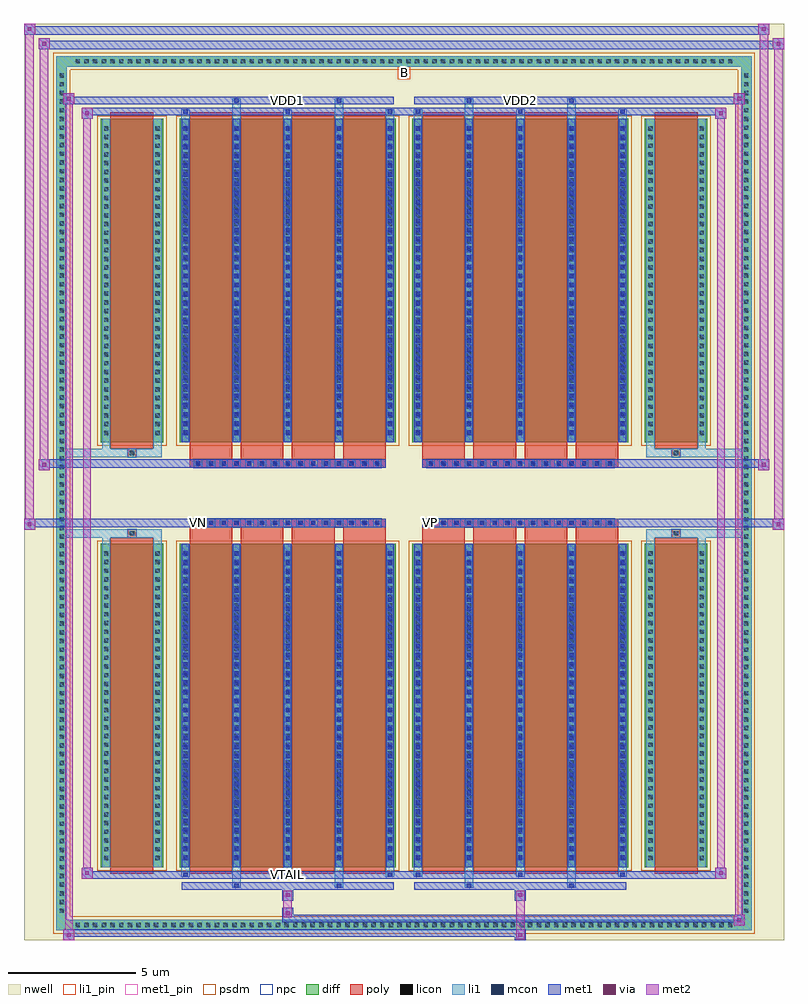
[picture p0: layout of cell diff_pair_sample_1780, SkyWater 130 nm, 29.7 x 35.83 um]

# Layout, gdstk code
import gdstk
lib = gdstk.Library(unit=1e-6, precision=5e-09)
def R(c, l, rs):  # rectangles x0, y0, x1, y1
    for r in rs: c.add(gdstk.rectangle(r[:2], r[2:], *l))
def A(c, l, x, y, w, h, nx, ny, dx, dy):  # array of equal rectangles
    R(c, l, [(x+i*dx, y+j*dy, x+i*dx+w, y+j*dy+h) for i in range(nx) for j in range(ny)])
def P(c, l, *ps):  # polygons
    for p in ps: c.add(gdstk.Polygon(p, *l))
nwell = (64, 20)
diff = (65, 20)
poly = (66, 20)
licon = (66, 44)
li1_pin = (67, 16)
li1 = (67, 20)
mcon = (67, 44)
met1_pin = (68, 16)
met1 = (68, 20)
via = (68, 44)
met2 = (69, 20)
psdm = (94, 20)
npc = (95, 20)

diff_pair_sample_1780 = lib.new_cell('diff_pair_sample_1780')
R(diff_pair_sample_1780, nwell, [(-14.85,-17.48,14.85,18.35), (-12.17,-15.67,-0.01,-0.795), (0.01,-15.67,12.17,-0.795), (-12.17,0.795,-0.01,15.67), (0.01,0.795,12.17,15.67)])
A(diff_pair_sample_1780, diff, -12.955, -17.08, 0.41, 0.41, 76, 2, 0.34, 33.75)
A(diff_pair_sample_1780, diff, -13.58, -16.525, 0.41, 0.41, 1, 97, 0, 0.34)
A(diff_pair_sample_1780, diff, 13.17, -16.525, 0.41, 0.41, 1, 97, 0, 0.34)
R(diff_pair_sample_1780, diff, [(-12.955,-17.08,12.955,-16.67), (-13.58,-16.525,-13.17,16.525), (13.17,-16.525,13.58,16.525), (-11.86,-14.625,-9.41,-1.985), (-8.77,-14.625,-0.32,-1.985), (0.32,-14.625,8.77,-1.985), (9.41,-14.625,11.86,-1.985), (-11.86,1.985,-9.41,14.625), (-8.77,1.985,-0.32,14.625), (0.32,1.985,8.77,14.625), (9.41,1.985,11.86,14.625), (-12.955,16.67,12.955,17.08)])
P(diff_pair_sample_1780, diff, [(13.58,17.08),(-13.58,17.08),(-13.58,-16.67),(-13.17,-16.67),(-13.17,16.67),(13.17,16.67),(13.17,-16.67),(-13.17,-16.67),(-13.58,-16.67),(-13.58,-17.08),(13.58,-17.08)])
A(diff_pair_sample_1780, poly, -8.38, -14.875, 1.67, 13.14, 4, 2, 2, 16.61)
A(diff_pair_sample_1780, poly, 0.71, -14.875, 1.67, 13.14, 4, 2, 2, 16.61)
A(diff_pair_sample_1780, poly, -8.38, -1.735, 1.67, 0.41, 4, 2, 2, 3.06)
A(diff_pair_sample_1780, poly, 0.71, -1.735, 1.67, 0.41, 4, 2, 2, 3.06)
A(diff_pair_sample_1780, poly, -8.21, -1.325, 0.33, 0.33, 15, 2, 0.5, 2.32)
A(diff_pair_sample_1780, poly, 0.88, -1.325, 0.33, 0.33, 15, 2, 0.5, 2.32)
R(diff_pair_sample_1780, poly, [(-11.47,-14.875,-9.8,-1.735), (9.8,-14.875,11.47,-1.735), (-10.8,-1.735,-10.47,-1.405), (-10.8,-1.735,-10.47,-1.405), (10.47,-1.735,10.8,-1.405), (10.47,-1.735,10.8,-1.405), (-8.38,-1.325,-0.71,-0.995), (0.71,-1.325,8.38,-0.995), (-8.38,0.995,-0.71,1.325), (0.71,0.995,8.38,1.325), (-10.8,1.405,-10.47,1.735), (-10.8,1.405,-10.47,1.735), (10.47,1.405,10.8,1.735), (10.47,1.405,10.8,1.735), (-11.47,1.735,-9.8,14.875), (9.8,1.735,11.47,14.875)])
A(diff_pair_sample_1780, licon, -12.835, -16.96, 0.17, 0.17, 76, 2, 0.34, 33.75)
A(diff_pair_sample_1780, licon, -13.46, -16.405, 0.17, 0.17, 1, 97, 0, 0.34)
A(diff_pair_sample_1780, licon, 13.29, -16.405, 0.17, 0.17, 1, 97, 0, 0.34)
A(diff_pair_sample_1780, licon, -11.72, -14.34, 0.17, 0.17, 1, 36, 0, 0.34)
A(diff_pair_sample_1780, licon, -9.72, -14.34, 0.17, 0.17, 1, 36, 0, 0.34)
A(diff_pair_sample_1780, licon, -8.63, -14.34, 0.17, 0.17, 5, 36, 2, 0.34)
A(diff_pair_sample_1780, licon, 0.46, -14.34, 0.17, 0.17, 5, 36, 2, 0.34)
A(diff_pair_sample_1780, licon, 9.55, -14.34, 0.17, 0.17, 1, 36, 0, 0.34)
A(diff_pair_sample_1780, licon, 11.55, -14.34, 0.17, 0.17, 1, 36, 0, 0.34)
A(diff_pair_sample_1780, licon, -8.13, -1.245, 0.17, 0.17, 15, 2, 0.5, 2.32)
A(diff_pair_sample_1780, licon, 0.96, -1.245, 0.17, 0.17, 15, 2, 0.5, 2.32)
A(diff_pair_sample_1780, licon, -11.72, 2.27, 0.17, 0.17, 1, 36, 0, 0.34)
A(diff_pair_sample_1780, licon, -9.72, 2.27, 0.17, 0.17, 1, 36, 0, 0.34)
A(diff_pair_sample_1780, licon, -8.63, 2.27, 0.17, 0.17, 5, 36, 2, 0.34)
A(diff_pair_sample_1780, licon, 0.46, 2.27, 0.17, 0.17, 5, 36, 2, 0.34)
A(diff_pair_sample_1780, licon, 9.55, 2.27, 0.17, 0.17, 1, 36, 0, 0.34)
A(diff_pair_sample_1780, licon, 11.55, 2.27, 0.17, 0.17, 1, 36, 0, 0.34)
R(diff_pair_sample_1780, licon, [(-10.72,-1.655,-10.55,-1.485), (10.55,-1.655,10.72,-1.485), (-10.72,1.485,-10.55,1.655), (10.55,1.485,10.72,1.655)])
R(diff_pair_sample_1780, li1_pin, [(-0.25,16.17,0.25,16.67)])
A(diff_pair_sample_1780, li1, -12.915, -17.04, 0.33, 0.33, 76, 2, 0.34, 33.75)
A(diff_pair_sample_1780, li1, -13.54, -16.485, 0.33, 0.33, 1, 97, 0, 0.34)
A(diff_pair_sample_1780, li1, 13.21, -16.485, 0.33, 0.33, 1, 97, 0, 0.34)
A(diff_pair_sample_1780, li1, -8.71, -15, 0.33, 0.375, 3, 2, 4, 29.625)
A(diff_pair_sample_1780, li1, -8.63, -15, 0.17, 0.17, 3, 2, 4, 29.83)
A(diff_pair_sample_1780, li1, 0.38, -15, 0.33, 0.375, 3, 2, 4, 29.625)
A(diff_pair_sample_1780, li1, 0.46, -15, 0.17, 0.17, 3, 2, 4, 29.83)
A(diff_pair_sample_1780, li1, -8.71, -14.625, 0.33, 12.64, 5, 2, 2, 16.61)
A(diff_pair_sample_1780, li1, 0.38, -14.625, 0.33, 12.64, 5, 2, 2, 16.61)
A(diff_pair_sample_1780, li1, -11.8, -14.42, 0.33, 0.33, 1, 36, 0, 0.34)
A(diff_pair_sample_1780, li1, -9.8, -14.42, 0.33, 0.33, 1, 36, 0, 0.34)
A(diff_pair_sample_1780, li1, -8.71, -14.42, 0.33, 0.33, 5, 36, 2, 0.34)
A(diff_pair_sample_1780, li1, 0.38, -14.42, 0.33, 0.33, 5, 36, 2, 0.34)
A(diff_pair_sample_1780, li1, 9.47, -14.42, 0.33, 0.33, 1, 36, 0, 0.34)
A(diff_pair_sample_1780, li1, 11.47, -14.42, 0.33, 0.33, 1, 36, 0, 0.34)
A(diff_pair_sample_1780, li1, -8.63, -14.33, 0.17, 0.17, 5, 34, 2, 0.36)
A(diff_pair_sample_1780, li1, -8.63, -14.33, 0.17, 12.05, 5, 2, 2, 16.61)
A(diff_pair_sample_1780, li1, 0.46, -14.33, 0.17, 0.17, 5, 34, 2, 0.36)
A(diff_pair_sample_1780, li1, 0.46, -14.33, 0.17, 12.05, 5, 2, 2, 16.61)
A(diff_pair_sample_1780, li1, -8.21, -1.325, 0.33, 0.33, 15, 2, 0.5, 2.32)
A(diff_pair_sample_1780, li1, 0.88, -1.325, 0.33, 0.33, 15, 2, 0.5, 2.32)
A(diff_pair_sample_1780, li1, -11.8, 2.19, 0.33, 0.33, 1, 36, 0, 0.34)
A(diff_pair_sample_1780, li1, -9.8, 2.19, 0.33, 0.33, 1, 36, 0, 0.34)
A(diff_pair_sample_1780, li1, -8.71, 2.19, 0.33, 0.33, 5, 36, 2, 0.34)
A(diff_pair_sample_1780, li1, 0.38, 2.19, 0.33, 0.33, 5, 36, 2, 0.34)
A(diff_pair_sample_1780, li1, 9.47, 2.19, 0.33, 0.33, 1, 36, 0, 0.34)
A(diff_pair_sample_1780, li1, 11.47, 2.19, 0.33, 0.33, 1, 36, 0, 0.34)
A(diff_pair_sample_1780, li1, -8.63, 2.28, 0.17, 0.17, 5, 34, 2, 0.36)
A(diff_pair_sample_1780, li1, 0.46, 2.28, 0.17, 0.17, 5, 34, 2, 0.36)
R(diff_pair_sample_1780, li1, [(-13.58,-17.08,-13.17,-16.67), (-13.58,-17.08,-13.17,-16.67), (-13.17,-17.08,13.17,-16.67), (13.17,-17.08,13.58,-16.67), (13.17,-17.08,13.58,-16.67), (-13.58,-16.67,-13.17,16.67), (13.17,-16.67,13.58,16.67), (-6.71,-15.43,-6.38,-14.625), (-6.63,-15.43,-6.46,-15.26), (-2.71,-15.43,-2.38,-14.625), (-2.63,-15.43,-2.46,-15.26), (2.38,-15.43,2.71,-14.625), (2.46,-15.43,2.63,-15.26), (6.38,-15.43,6.71,-14.625), (6.46,-15.43,6.63,-15.26), (-11.8,-14.625,-11.47,-1.985), (-9.8,-14.625,-9.47,-1.985), (9.47,-14.625,9.8,-1.985), (11.47,-14.625,11.8,-1.985), (-11.8,-1.985,-11.47,-1.405), (-9.8,-1.985,-9.47,-1.405), (9.47,-1.985,9.8,-1.405), (11.47,-1.985,11.8,-1.405), (-13.58,-1.735,-10.8,-1.405), (-11.8,-1.735,-10.8,-1.405), (-10.8,-1.735,-10.47,-1.405), (-10.47,-1.735,-9.47,-1.405), (9.47,-1.735,10.47,-1.405), (10.47,-1.735,10.8,-1.405), (10.47,-1.735,13.58,-1.405), (10.8,-1.735,11.8,-1.405), (-13.58,1.405,-10.8,1.735), (-11.8,1.405,-10.8,1.735), (-11.8,1.405,-11.47,1.985), (-10.8,1.405,-10.47,1.735), (-10.47,1.405,-9.47,1.735), (-9.8,1.405,-9.47,1.985), (9.47,1.405,10.47,1.735), (9.47,1.405,9.8,1.985), (10.47,1.405,10.8,1.735), (10.47,1.405,13.58,1.735), (10.8,1.405,11.8,1.735), (11.47,1.405,11.8,1.985), (-11.8,1.985,-11.47,14.625), (-9.8,1.985,-9.47,14.625), (9.47,1.985,9.8,14.625), (11.47,1.985,11.8,14.625), (-6.71,14.625,-6.38,15.43), (-2.71,14.625,-2.38,15.43), (2.38,14.625,2.71,15.43), (6.38,14.625,6.71,15.43), (-6.63,15.26,-6.46,15.43), (-2.63,15.26,-2.46,15.43), (2.46,15.26,2.63,15.43), (6.46,15.26,6.63,15.43), (-13.58,16.67,-13.17,17.08), (-13.58,16.67,-13.17,17.08), (-13.17,16.67,13.17,17.08), (13.17,16.67,13.58,17.08), (13.17,16.67,13.58,17.08)])
A(diff_pair_sample_1780, mcon, -8.63, -15, 0.17, 0.17, 3, 2, 4, 29.83)
A(diff_pair_sample_1780, mcon, 0.46, -15, 0.17, 0.17, 3, 2, 4, 29.83)
A(diff_pair_sample_1780, mcon, -8.63, -14.33, 0.17, 0.17, 5, 34, 2, 0.36)
A(diff_pair_sample_1780, mcon, 0.46, -14.33, 0.17, 0.17, 5, 34, 2, 0.36)
A(diff_pair_sample_1780, mcon, -8.13, -1.245, 0.17, 0.17, 15, 2, 0.5, 2.32)
A(diff_pair_sample_1780, mcon, 0.96, -1.245, 0.17, 0.17, 15, 2, 0.5, 2.32)
A(diff_pair_sample_1780, mcon, -8.63, 2.28, 0.17, 0.17, 5, 34, 2, 0.36)
A(diff_pair_sample_1780, mcon, 0.46, 2.28, 0.17, 0.17, 5, 34, 2, 0.36)
R(diff_pair_sample_1780, mcon, [(-6.63,-15.43,-6.46,-15.26), (-2.63,-15.43,-2.46,-15.26), (2.46,-15.43,2.63,-15.26), (6.46,-15.43,6.63,-15.26), (-6.63,15.26,-6.46,15.43), (-2.63,15.26,-2.46,15.43), (2.46,15.26,2.63,15.43), (6.46,15.26,6.63,15.43)])
R(diff_pair_sample_1780, met1_pin, [(-4.68,-15.04,-4.41,-14.77), (-8.18,-1.285,-7.91,-1.015), (0.91,-1.285,1.18,-1.015), (-4.68,15.22,-4.41,15.49), (4.41,15.22,4.68,15.49)])
A(diff_pair_sample_1780, met1, -8.69, -15.06, 0.29, 0.29, 3, 2, 4, 29.83)
A(diff_pair_sample_1780, met1, 0.4, -15.06, 0.29, 0.29, 3, 2, 4, 29.83)
A(diff_pair_sample_1780, met1, -8.69, -14.625, 0.29, 12.64, 5, 2, 2, 16.61)
A(diff_pair_sample_1780, met1, 0.4, -14.625, 0.29, 12.64, 5, 2, 2, 16.61)
A(diff_pair_sample_1780, met1, -8.69, -14.39, 0.29, 0.29, 5, 34, 2, 0.36)
A(diff_pair_sample_1780, met1, 0.4, -14.39, 0.29, 0.29, 5, 34, 2, 0.36)
A(diff_pair_sample_1780, met1, -8.19, -1.305, 0.29, 0.29, 15, 2, 0.5, 2.32)
A(diff_pair_sample_1780, met1, 0.9, -1.305, 0.29, 0.29, 15, 2, 0.5, 2.32)
A(diff_pair_sample_1780, met1, -8.69, 2.22, 0.29, 0.29, 5, 34, 2, 0.36)
A(diff_pair_sample_1780, met1, 0.4, 2.22, 0.29, 0.29, 5, 34, 2, 0.36)
R(diff_pair_sample_1780, met1, [(-13.31,-17.48,-12.88,-17.05), (4.33,-17.48,4.76,-17.05), (-13.31,-17.34,4.76,-17.05), (12.88,-16.91,13.31,-16.48), (-4.76,-16.77,13.31,-16.48), (-4.76,-16.63,-4.33,-16.2), (-4.76,-15.92,-4.33,-15.49), (4.33,-15.92,4.76,-15.49), (-8.69,-15.49,-0.4,-15.2), (-6.69,-15.49,-6.4,-15.2), (-2.69,-15.49,-2.4,-15.2), (0.4,-15.49,8.69,-15.2), (2.4,-15.49,2.69,-15.2), (6.4,-15.49,6.69,-15.2), (-12.6,-15.06,-12.17,-14.63), (-12.6,-15.06,-8.69,-14.77), (-8.69,-15.06,-0.4,-14.77), (-0.4,-15.06,0.4,-14.77), (0.4,-15.06,8.69,-14.77), (8.69,-15.06,12.6,-14.77), (12.17,-15.06,12.6,-14.63), (-14.85,-1.425,-14.42,-0.995), (14.42,-1.425,14.85,-0.995), (-14.85,-1.325,-0.71,-0.995), (-8.38,-1.325,-0.71,-0.995), (0.71,-1.325,8.38,-0.995), (0.71,-1.325,14.85,-0.995), (-14.28,0.895,-13.85,1.325), (13.85,0.895,14.28,1.325), (-14.28,0.995,-8.38,1.325), (-8.38,0.995,-0.71,1.325), (0.71,0.995,8.38,1.325), (8.38,0.995,14.28,1.325), (-12.6,14.63,-12.17,15.06), (12.17,14.63,12.6,15.06), (-12.6,14.77,-8.69,15.06), (-8.69,14.77,-0.4,15.06), (-0.4,14.77,0.4,15.06), (0.4,14.77,8.69,15.06), (8.69,14.77,12.6,15.06), (-13.31,15.2,-12.88,15.63), (-13.31,15.2,-8.69,15.49), (-8.69,15.2,-0.4,15.49), (-6.69,15.2,-6.4,15.49), (-2.69,15.2,-2.4,15.49), (0.4,15.2,8.69,15.49), (2.4,15.2,2.69,15.49), (6.4,15.2,6.69,15.49), (8.69,15.2,13.31,15.49), (12.88,15.2,13.31,15.63), (-14.28,17.35,-13.85,17.78), (-14.28,17.35,-12.17,17.68), (-12.17,17.35,12.17,17.68), (12.17,17.35,14.85,17.68), (14.42,17.35,14.85,17.78), (-14.85,17.92,-14.42,18.35), (-14.85,17.92,-12.17,18.25), (-12.17,17.92,12.17,18.25), (12.17,17.92,14.28,18.25), (13.85,17.92,14.28,18.35)])
R(diff_pair_sample_1780, via, [(-13.17,-17.34,-13.02,-17.19), (4.47,-17.34,4.62,-17.19), (13.02,-16.77,13.17,-16.62), (-4.62,-16.49,-4.47,-16.34), (-4.62,-15.78,-4.47,-15.63), (4.47,-15.78,4.62,-15.63), (-12.46,-14.92,-12.31,-14.77), (12.31,-14.92,12.46,-14.77), (-14.71,-1.285,-14.56,-1.135), (14.56,-1.285,14.71,-1.135), (-14.14,1.035,-13.99,1.185), (13.99,1.035,14.14,1.185), (-12.46,14.77,-12.31,14.92), (12.31,14.77,12.46,14.92), (-13.17,15.34,-13.02,15.49), (13.02,15.34,13.17,15.49), (-14.14,17.49,-13.99,17.64), (14.56,17.49,14.71,17.64), (-14.71,18.06,-14.56,18.21), (13.99,18.06,14.14,18.21)])
R(diff_pair_sample_1780, met2, [(-13.31,-17.48,-12.88,-17.05), (-13.24,-17.48,-12.95,15.63), (-12.95,-17.48,-12.88,-17.05), (-13.26,-17.43,-12.93,-17.1), (4.38,-17.43,4.71,-17.1), (4.38,-17.1,4.71,-15.87), (12.88,-16.91,13.31,-16.48), (12.95,-16.91,13.24,15.63), (13.24,-16.91,13.31,-16.48), (12.93,-16.86,13.26,-16.53), (-4.71,-16.58,-4.38,-16.25), (-4.71,-16.25,-4.38,-15.87), (-4.71,-15.87,-4.38,-15.54), (4.38,-15.87,4.71,-15.54), (-12.6,-15.06,-12.17,-14.63), (-12.53,-15.06,-12.24,15.06), (-12.24,-15.06,-12.17,-14.63), (12.17,-15.06,12.6,-14.63), (12.24,-15.06,12.53,15.06), (12.53,-15.06,12.6,-14.63), (-12.55,-15.01,-12.22,-14.68), (12.22,-15.01,12.55,-14.68), (-14.85,-1.425,-14.42,-0.995), (-14.8,-1.425,-14.47,18.35), (-14.47,-1.425,-14.42,-0.995), (14.42,-1.425,14.85,-0.995), (14.47,-1.425,14.8,17.78), (14.8,-1.425,14.85,-0.995), (-14.8,-1.375,-14.47,-1.045), (14.47,-1.375,14.8,-1.045), (-14.28,0.895,-13.85,1.325), (-14.23,0.895,-13.9,17.78), (-13.9,0.895,-13.85,1.325), (13.85,0.895,14.28,1.325), (13.9,0.895,14.23,18.35), (14.23,0.895,14.28,1.325), (-14.23,0.945,-13.9,1.275), (13.9,0.945,14.23,1.275), (-12.6,14.63,-12.17,15.06), (-12.24,14.63,-12.17,15.06), (12.17,14.63,12.6,15.06), (12.53,14.63,12.6,15.06), (-12.55,14.68,-12.22,15.01), (12.22,14.68,12.55,15.01), (-13.31,15.2,-12.88,15.63), (-12.95,15.2,-12.88,15.63), (12.88,15.2,13.31,15.63), (13.24,15.2,13.31,15.63), (-13.26,15.25,-12.93,15.58), (12.93,15.25,13.26,15.58), (-14.28,17.35,-13.85,17.78), (-13.9,17.35,-13.85,17.78), (14.42,17.35,14.85,17.78), (14.8,17.35,14.85,17.78), (-14.23,17.4,-13.9,17.73), (14.47,17.4,14.8,17.73), (-14.85,17.92,-14.42,18.35), (-14.47,17.92,-14.42,18.35), (13.85,17.92,14.28,18.35), (14.23,17.92,14.28,18.35), (-14.8,17.97,-14.47,18.3), (13.9,17.97,14.23,18.3)])
R(diff_pair_sample_1780, psdm, [(-11.99,-14.755,-9.28,-1.855), (-8.9,-14.755,-0.19,-1.855), (0.19,-14.755,8.9,-1.855), (9.28,-14.755,11.99,-1.855), (-11.99,1.855,-9.28,14.755), (-8.9,1.855,-0.19,14.755), (0.19,1.855,8.9,14.755), (9.28,1.855,11.99,14.755)])
P(diff_pair_sample_1780, psdm, [(13.71,17.21),(-13.71,17.21),(-13.71,-16.54),(-13.04,-16.54),(-13.04,16.54),(13.04,16.54),(13.04,-16.54),(-13.04,-16.54),(-13.71,-16.54),(-13.71,-17.21),(13.71,-17.21)])
A(diff_pair_sample_1780, npc, -8.23, -1.345, 0.37, 0.37, 15, 2, 0.5, 2.32)
A(diff_pair_sample_1780, npc, 0.86, -1.345, 0.37, 0.37, 15, 2, 0.5, 2.32)
R(diff_pair_sample_1780, npc, [(-10.82,-1.755,-10.45,-1.385), (10.45,-1.755,10.82,-1.385), (-8.23,-1.345,-7.36,-0.975), (-8.23,-1.345,-7.36,-0.975), (-7.73,-1.345,-6.86,-0.975), (-7.73,-1.345,-6.86,-0.975), (-7.23,-1.345,-6.36,-0.975), (-7.23,-1.345,-6.36,-0.975), (-6.73,-1.345,-5.86,-0.975), (-6.73,-1.345,-5.86,-0.975), (-6.23,-1.345,-5.36,-0.975), (-6.23,-1.345,-5.36,-0.975), (-5.73,-1.345,-4.86,-0.975), (-5.73,-1.345,-4.86,-0.975), (-5.23,-1.345,-4.36,-0.975), (-5.23,-1.345,-4.36,-0.975), (-4.73,-1.345,-3.86,-0.975), (-4.73,-1.345,-3.86,-0.975), (-4.23,-1.345,-3.36,-0.975), (-4.23,-1.345,-3.36,-0.975), (-3.73,-1.345,-2.86,-0.975), (-3.73,-1.345,-2.86,-0.975), (-3.23,-1.345,-2.36,-0.975), (-3.23,-1.345,-2.36,-0.975), (-2.73,-1.345,-1.86,-0.975), (-2.73,-1.345,-1.86,-0.975), (-2.23,-1.345,-1.36,-0.975), (-2.23,-1.345,-1.36,-0.975), (-1.73,-1.345,-0.86,-0.975), (-1.73,-1.345,-0.86,-0.975), (0.86,-1.345,1.73,-0.975), (0.86,-1.345,1.73,-0.975), (1.36,-1.345,2.23,-0.975), (1.36,-1.345,2.23,-0.975), (1.86,-1.345,2.73,-0.975), (1.86,-1.345,2.73,-0.975), (2.36,-1.345,3.23,-0.975), (2.36,-1.345,3.23,-0.975), (2.86,-1.345,3.73,-0.975), (2.86,-1.345,3.73,-0.975), (3.36,-1.345,4.23,-0.975), (3.36,-1.345,4.23,-0.975), (3.86,-1.345,4.73,-0.975), (3.86,-1.345,4.73,-0.975), (4.36,-1.345,5.23,-0.975), (4.36,-1.345,5.23,-0.975), (4.86,-1.345,5.73,-0.975), (4.86,-1.345,5.73,-0.975), (5.36,-1.345,6.23,-0.975), (5.36,-1.345,6.23,-0.975), (5.86,-1.345,6.73,-0.975), (5.86,-1.345,6.73,-0.975), (6.36,-1.345,7.23,-0.975), (6.36,-1.345,7.23,-0.975), (6.86,-1.345,7.73,-0.975), (6.86,-1.345,7.73,-0.975), (7.36,-1.345,8.23,-0.975), (7.36,-1.345,8.23,-0.975), (-8.23,0.975,-7.36,1.345), (-8.23,0.975,-7.36,1.345), (-7.73,0.975,-6.86,1.345), (-7.73,0.975,-6.86,1.345), (-7.23,0.975,-6.36,1.345), (-7.23,0.975,-6.36,1.345), (-6.73,0.975,-5.86,1.345), (-6.73,0.975,-5.86,1.345), (-6.23,0.975,-5.36,1.345), (-6.23,0.975,-5.36,1.345), (-5.73,0.975,-4.86,1.345), (-5.73,0.975,-4.86,1.345), (-5.23,0.975,-4.36,1.345), (-5.23,0.975,-4.36,1.345), (-4.73,0.975,-3.86,1.345), (-4.73,0.975,-3.86,1.345), (-4.23,0.975,-3.36,1.345), (-4.23,0.975,-3.36,1.345), (-3.73,0.975,-2.86,1.345), (-3.73,0.975,-2.86,1.345), (-3.23,0.975,-2.36,1.345), (-3.23,0.975,-2.36,1.345), (-2.73,0.975,-1.86,1.345), (-2.73,0.975,-1.86,1.345), (-2.23,0.975,-1.36,1.345), (-2.23,0.975,-1.36,1.345), (-1.73,0.975,-0.86,1.345), (-1.73,0.975,-0.86,1.345), (0.86,0.975,1.73,1.345), (0.86,0.975,1.73,1.345), (1.36,0.975,2.23,1.345), (1.36,0.975,2.23,1.345), (1.86,0.975,2.73,1.345), (1.86,0.975,2.73,1.345), (2.36,0.975,3.23,1.345), (2.36,0.975,3.23,1.345), (2.86,0.975,3.73,1.345), (2.86,0.975,3.73,1.345), (3.36,0.975,4.23,1.345), (3.36,0.975,4.23,1.345), (3.86,0.975,4.73,1.345), (3.86,0.975,4.73,1.345), (4.36,0.975,5.23,1.345), (4.36,0.975,5.23,1.345), (4.86,0.975,5.73,1.345), (4.86,0.975,5.73,1.345), (5.36,0.975,6.23,1.345), (5.36,0.975,6.23,1.345), (5.86,0.975,6.73,1.345), (5.86,0.975,6.73,1.345), (6.36,0.975,7.23,1.345), (6.36,0.975,7.23,1.345), (6.86,0.975,7.73,1.345), (6.86,0.975,7.73,1.345), (7.36,0.975,8.23,1.345), (7.36,0.975,8.23,1.345), (-10.82,1.385,-10.45,1.755), (10.45,1.385,10.82,1.755)])
diff_pair_sample_1780.add(gdstk.Label('VTAIL', (-4.545,-14.905), layer=68, texttype=5))
diff_pair_sample_1780.add(gdstk.Label('VN', (-8.045,-1.15), layer=68, texttype=5))
diff_pair_sample_1780.add(gdstk.Label('VP', (1.045,-1.15), layer=68, texttype=5))
diff_pair_sample_1780.add(gdstk.Label('B', (0,16.42), layer=67, texttype=5))
diff_pair_sample_1780.add(gdstk.Label('VDD2', (4.545,15.355), layer=68, texttype=5))
diff_pair_sample_1780.add(gdstk.Label('VDD1', (-4.545,15.355), layer=68, texttype=5))

lib.write_gds('diff_pair_sample_1780.gds')
